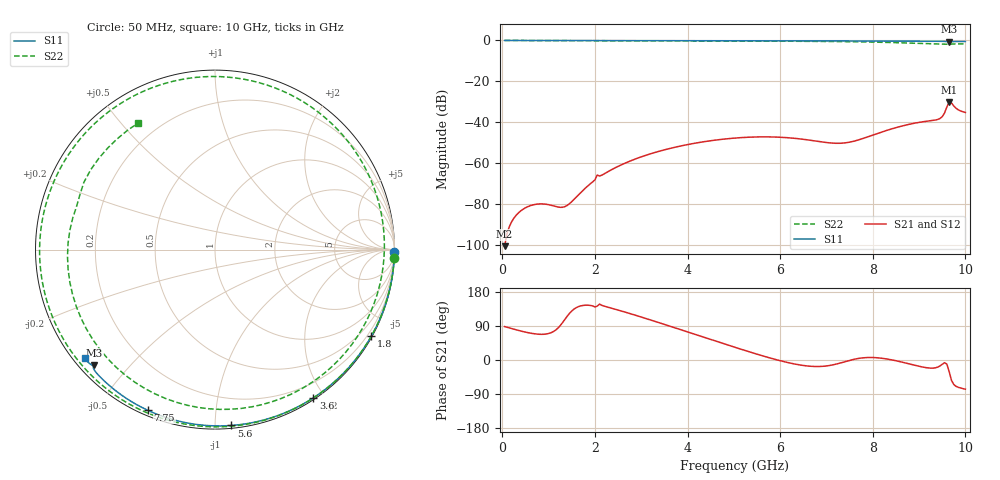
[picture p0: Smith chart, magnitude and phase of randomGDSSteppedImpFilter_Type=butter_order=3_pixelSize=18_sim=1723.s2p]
! freq	dB(S11)	phase(S11)	dB(S12)	phase(S12)
!  dB(S21)	phase(S21)	dB(S22)	phase(S22)
!S-par simulation data
#  GHz  S  DB  R 50
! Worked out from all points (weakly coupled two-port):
!   200 points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, 50 MHz to 10 GHz, reference 50 ohm
!   highest |S21| = -30.08 dB at 9.65 GHz (marker M1); lowest = -100.6 dB at 50 MHz (marker M2)
!   lowest |S11| = -0.6 dB at 9.65 GHz (marker M3), VSWR 27.68, Z = 2.1 - j20 ohm
!   |S11| at or under -10 dB: nowhere
!   |S22| runs from -1.9 to 0.0 dB; largest |S21 - S12| = 0
!   S11 on the Smith chart (normalised r, x): 50 MHz: open; 1.8 GHz: 0.03, -3.88; 3.6 GHz: 0.02, -1.87; 5.6 GHz: 0.02, -1.10; 7.75 GHz: 0.02, -0.67; 10 GHz: 0.03, -0.36
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0.05  -0.00 -0.8  -100.60 88.2  -100.60 88.2  -0.00 -2.8
0.8  -0.02 -13.0  -79.95 67.9  -79.95 67.9  -0.06 -44.0
1.45  -0.03 -23.4  -79.85 122.9  -79.85 122.9  -0.10 -78.0
1.75  -0.04 -28.1  -73.11 144.1  -73.11 144.1  -0.11 -93.0
1.8  -0.04 -28.9  -72.07 144.6  -72.07 144.6  -0.11 -95.4
2.05  -0.04 -32.8  -65.83 142.1  -65.83 142.1  -0.13 -107.5
2.75  -0.06 -43.6  -59.06 122.8  -59.06 122.8  -0.16 -140.1
3.4  -0.07 -53.4  -54.11 97.9  -54.11 97.9  -0.19 -169.4
3.6  -0.08 -56.4  -52.92 90.0  -52.92 90.0  -0.20 -178.4
4.3  -0.09 -66.6  -49.71 62.2  -49.71 62.2  -0.24 149.8
5.05  -0.12 -77.2  -47.69 32.5  -47.69 32.5  -0.28 113.9
5.6  -0.14 -84.7  -47.15 11.7  -47.15 11.7  -0.32 85.8
6.15  -0.16 -92.1  -47.54 -6.3  -47.54 -6.3  -0.37 56.0
6.7  -0.19 -99.3  -48.96 -16.9  -48.96 -16.9  -0.43 24.4
7.25  -0.23 -106.4  -50.30 -9.6  -50.30 -9.6  -0.54 -9.1
7.75  -0.26 -112.7  -48.22 5.2  -48.22 5.2  -0.69 -41.5
8.35  -0.31 -120.2  -43.64 1.7  -43.64 1.7  -0.98 -84.4
8.7  -0.34 -124.5  -41.46 -7.6  -41.46 -7.6  -1.20 -112.4
9.1  -0.38 -129.5  -39.70 -19.1  -39.70 -19.1  -1.49 -148.1
9.45  -0.42 -134.1  -38.19 -15.8  -38.19 -15.8  -1.73 177.6
9.65  -0.63 -136.4  -30.08 -30.9  -30.08 -30.9  -1.81 158.2
10  -0.49 -140.1  -35.21 -77.1  -35.21 -77.1  -1.67 121.3
